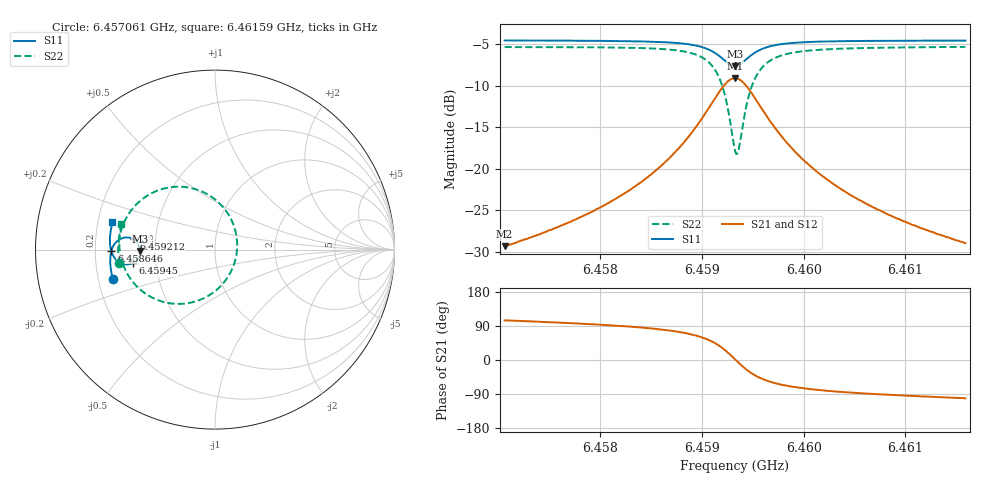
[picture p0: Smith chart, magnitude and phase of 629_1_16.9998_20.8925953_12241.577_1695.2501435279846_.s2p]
#  HZ  S  RI  R  50.00
! Rohde & Schwarz Vector Network Analyzer
! Rohde-Schwarz,ZNB20-2Port,1311601062101988,3.16
! Created: UTC 3/20/2024, 11:20:15 PM
! freq[Hz]  re:S11  im:S11  re:S21  im:S21  re:S12  im:S12  re:S22  im:S22
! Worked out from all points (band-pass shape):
!   401 points, 6.457061 GHz to 6.46159 GHz, reference 50 ohm
!   highest |S21| = -9.09 dB at 6.459325 GHz (marker M1); lowest = -29.3 dB at 6.457061 GHz (marker M2)
!   |S21| within 3 dB of the highest: 6.459099 GHz to 6.459552 GHz (453 kHz wide, 0.00701 % of centre)
!   lowest |S11| = -7.6 dB at 6.459325 GHz (marker M3), VSWR 2.42, Z = 20.7 - j0.371 ohm
!   |S11| at or under -10 dB: nowhere
!   |S22| runs from -18.2 to -5.3 dB; largest |S21 - S12| = 0.014
!   S11 on the Smith chart (normalised r, x): 6.457061 GHz: 0.26, -0.13; 6.458646 GHz: 0.27, -0.00; 6.459212 GHz: 0.38, +0.05; 6.45945 GHz: 0.37, -0.07; 6.46159 GHz: 0.26, +0.12
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6.457061e9  -0.5684 -0.1657  -0.00865 0.0331  -0.00683 0.0332  -0.535 -0.0769
6.4578196e9  -0.5817 -0.099  -0.00514 0.0514  -0.00248 0.0506  -0.539 0.0132
6.4582385e9  -0.584 -0.0567  0.00105 0.0711  0.00444 0.0696  -0.5298 0.0809
6.4585781e9  -0.5797 -0.0156  0.0153 0.1003  0.0194 0.0975  -0.5031 0.1587
6.458646e9  -0.5774 -0.00612  0.0208 0.1088  0.0249 0.1054  -0.4926 0.1787
6.4588385e9  -0.5645 0.0242  0.0481 0.1398  0.0522 0.1348  -0.4414 0.2483
6.4589857e9  -0.5413 0.0504  0.0942 0.1706  0.0974 0.1637  -0.3562 0.3128
6.4591215e9  -0.4968 0.0677  0.1828 0.1867  0.1837 0.1792  -0.1939 0.3503
6.4592121e9  -0.4516 0.0569  0.2739 0.1544  0.2741 0.1486  -0.0251 0.2978
6.45928e9  -0.4222 0.0241  0.3348 0.0812  0.3372 0.0759  0.0916 0.1653
6.4593253e9  -0.4154 -0.00743  0.3511 0.0121  0.355 0.00507  0.1236 0.0356
6.4593593e9  -0.4194 -0.0315  0.3451 -0.0412  0.3491 -0.0504  0.1114 -0.0657
6.4594046e9  -0.4354 -0.058  0.3157 -0.102  0.3181 -0.1141  0.0515 -0.1807
6.4594498e9  -0.4576 -0.0745  0.2727 -0.1436  0.2719 -0.1571  -0.0355 -0.2565
6.4595404e9  -0.5018 -0.0816  0.1862 -0.1747  0.1799 -0.1865  -0.2082 -0.3024
6.4596083e9  -0.5263 -0.0742  0.1371 -0.1724  0.1288 -0.1815  -0.3034 -0.2865
6.4596876e9  -0.5463 -0.061  0.0968 -0.16  0.0881 -0.1664  -0.3789 -0.251
6.4598461e9  -0.568 -0.0331  0.0514 -0.1314  0.0436 -0.1342  -0.4603 -0.177
6.4600838e9  -0.5808 0.00242  0.0221 -0.0991  0.016 -0.0996  -0.5083 -0.0932
6.4604461e9  -0.5854 0.0457  0.00532 -0.0702  0.0012 -0.0697  -0.5302 -0.00867
6.4608424e9  -0.5833 0.0856  -0.0017 -0.0526  -0.00458 -0.0519  -0.5333 0.0553
6.4615896e9  -0.5713 0.1521  -0.00687 -0.0351  -0.00845 -0.0341  -0.522 0.1448
